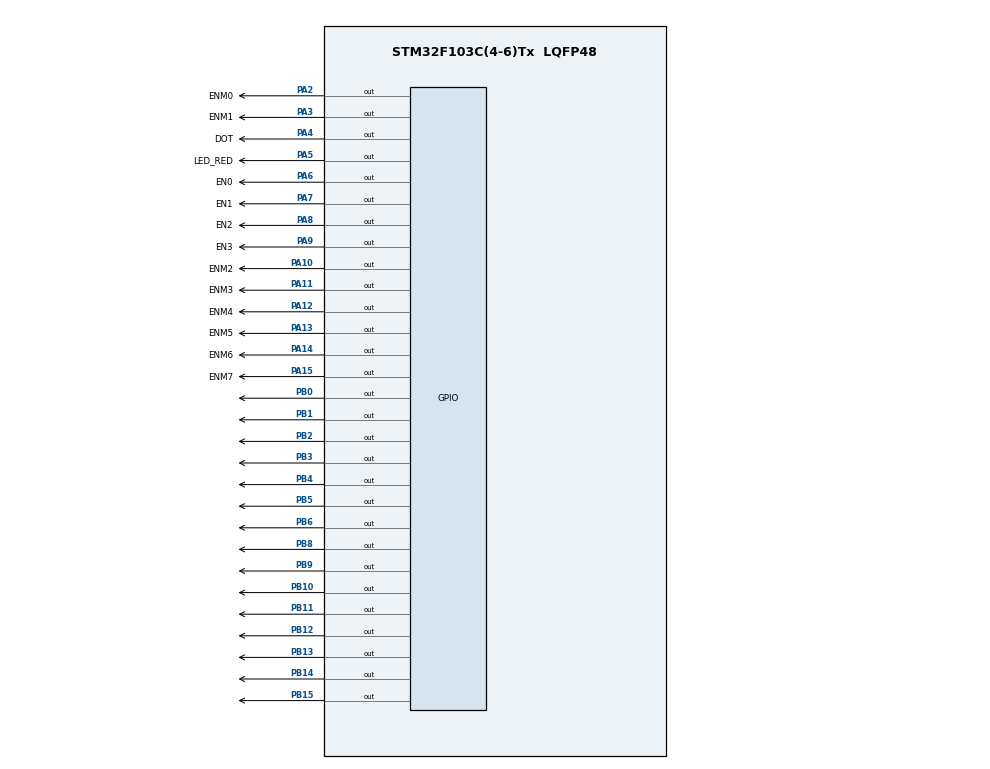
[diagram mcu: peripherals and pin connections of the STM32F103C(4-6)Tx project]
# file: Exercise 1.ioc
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Mcu.Family=STM32F1
Mcu.Name=STM32F103C(4-6)Tx
Mcu.Package=LQFP48
NVIC.PriorityGroup=NVIC_PRIORITYGROUP_4
NVIC.TIM2_IRQn=true\:0\:0\:false\:false\:true\:true\:true\:true
PA10.GPIO_Label=ENM2
PA10.Signal=GPIO_Output
PA11.GPIO_Label=ENM3
PA11.Signal=GPIO_Output
PA12.GPIO_Label=ENM4
PA12.Signal=GPIO_Output
PA13.GPIO_Label=ENM5
PA13.Signal=GPIO_Output
PA14.GPIO_Label=ENM6
PA14.Signal=GPIO_Output
PA15.GPIO_Label=ENM7
PA15.Signal=GPIO_Output
PA2.GPIO_Label=ENM0
PA2.Signal=GPIO_Output
PA3.GPIO_Label=ENM1
PA3.Signal=GPIO_Output
PA4.GPIO_Label=DOT
PA4.Signal=GPIO_Output
PA5.GPIO_Label=LED_RED
PA5.Signal=GPIO_Output
PA6.GPIO_Label=EN0
PA6.Signal=GPIO_Output
PA7.GPIO_Label=EN1
PA7.Signal=GPIO_Output
PA8.GPIO_Label=EN2
PA8.Signal=GPIO_Output
PA9.GPIO_Label=EN3
PA9.Signal=GPIO_Output
PB0.Signal=GPIO_Output
PB1.Signal=GPIO_Output
PB10.Signal=GPIO_Output
PB11.Signal=GPIO_Output
PB12.Signal=GPIO_Output
PB13.Signal=GPIO_Output
PB14.Signal=GPIO_Output
PB15.Signal=GPIO_Output
PB2.Signal=GPIO_Output
PB3.Signal=GPIO_Output
PB4.Signal=GPIO_Output
PB5.Signal=GPIO_Output
PB6.Signal=GPIO_Output
PB8.Signal=GPIO_Output
PB9.Signal=GPIO_Output
ProjectManager.HeapSize=0x200
ProjectManager.StackSize=0x400
ProjectManager.TargetToolchain=STM32CubeIDE
RCC.APB1Freq_Value=8000000
RCC.APB2Freq_Value=8000000
TIM2.Period=9
TIM2.Prescaler=7999
VP_SYS_VS_ND.Mode=No_Debug
VP_TIM2_VS_ClockSourceINT.Mode=Internal
board=custom

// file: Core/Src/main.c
/* USER CODE BEGIN Header */
/**
  ******************************************************************************
  * @file           : main.c
  * @brief          : Main program body
  ******************************************************************************
  * @attention
  *
  * Copyright (c) 2025 STMicroelectronics.
  * All rights reserved.
  *
  * This software is licensed under terms that can be found in the LICENSE file
  * in the root directory of this software component.
  * If no LICENSE file comes with this software, it is provided AS-IS.
  *
  ******************************************************************************
  */
/* USER CODE END Header */
#include "main.h"

/* USER CODE BEGIN PD */
#define ON 0
#define OFF 1
#define SEG1 0
#define SEG2 1
#define SEG3 2
#define SEG4 3
#define SMALL 0
#define INIT 1
#define BIG 2
/* USER CODE END PD */

/* USER CODE BEGIN PM */
void display7SEG(int num0);
void exer1();
void exer2();
void exer4();
void update7SEG ( int index );
void   updateClockBuffer () ;
void updateLEDMatrix (int index );
void init_matrix_led();
void set_matrix_row(int index);
void heartbeatAnimation();
void displayFrame(uint8_t frame[8]);
/* USER CODE END PM */

TIM_HandleTypeDef htim2;

/* USER CODE BEGIN PV */
uint8_t  counter = 0;
uint8_t time = 0;
uint8_t status = INIT;
const int MAX_LED = 4;
int index_led = 0;
int led_buffer [4] = {1 , 2 , 3 , 4};
int hour = 15 , minute = 8 , second = 50;
const int MAX_LED_MATRIX = 8;
 int index_led_matrix = 0;
 uint8_t matrix_buffer [8] = {0x70, // 0b01110000
		  0x88, // 0b10001000
		  0x88, // 0b10001000
		  0xF8, // 0b11111000
		  0x88, // 0b10001000
		  0x88, // 0b10001000
		  0x88, // 0b10001000
		  0x00   };
 uint8_t heart_big[8] = {
   0b00000000,
   0b01100110,
   0b11111111,
   0b11111111,
   0b01111110,
   0b00111100,
   0b00011000,
   0b00000000
 };
 uint8_t heart_small[8] = {
   0b00000000,
   0b00000000,
   0b01100110,
   0b11111111,
   0b01111110,
   0b00011000,
   0b00000000,
   0b00000000
 };
/* USER CODE END PV */

void SystemClock_Config(void);
static void MX_GPIO_Init(void);
static void MX_TIM2_Init(void);

/* USER CODE BEGIN 0 */
int timer0_counter = 0;
int timer0_flag = 0;
 int TIMER_CYCLE = 10;

 void setTimer0 ( int duration ) {
	timer0_counter = duration / TIMER_CYCLE ;
	 timer0_flag = 0;
 }
 void timer_run () {
	 if( timer0_counter > 0) {
	 timer0_counter --;
	 if( timer0_counter == 0) timer0_flag = 1;
 }
  }
/* USER CODE END 0 */

int main(void)
{

  /* MCU Configuration--------------------------------------------------------*/

  /* Reset of all peripherals, Initializes the Flash interface and the Systick. */
  HAL_Init();

  /* Configure the system clock */
  SystemClock_Config();

  /* Initialize all configured peripherals */
  MX_GPIO_Init();
  MX_TIM2_Init();
  /* USER CODE BEGIN 2 */
  HAL_TIM_Base_Start_IT (& htim2 ) ;
  init_matrix_led();
  //init 7SEG

  setTimer0(1000);
	 HAL_GPIO_WritePin(GPIOA, GPIO_PIN_6, OFF);
	 HAL_GPIO_WritePin(GPIOA, GPIO_PIN_7, OFF);
	 HAL_GPIO_WritePin(GPIOA, GPIO_PIN_8, OFF);
	 HAL_GPIO_WritePin(GPIOA, GPIO_PIN_9, OFF);
  /* USER CODE END 2 */

  /* Infinite loop */
  /* USER CODE BEGIN WHILE */
  while (1)
  {
//	  if(timer0_flag){
//		  setTimer0(1000);
//		 second ++;
//
//		 if ( second >= 60) {
//		 second = 0;
//		minute ++;
//
//		 }
//		if( minute >= 60) {
//		 minute = 0;
//		hour ++;
//		}
//		if( hour >=24) {
//		 hour = 0;
//		 }
//		if(index_led >= 0 && index_led < 2) HAL_GPIO_WritePin(GPIOA, GPIO_PIN_4, OFF);
//		if(index_led >= 2 && index_led <=3) HAL_GPIO_WritePin(GPIOA, GPIO_PIN_4, ON);
//		updateClockBuffer () ;
//		update7SEG(index_led++);
//
//
//
//	  }
	  while(!timer0_flag);
	  setTimer0(200);
	  switch(status){
	  case INIT:
		  init_matrix_led();
		  status = SMALL;
		  break;
	  case SMALL:
		  displayFrame(heart_small);
		  status = BIG;
		  break;
	  case BIG:
		  displayFrame(heart_big);
		  status = SMALL;
		  break;
	  default: break;
	  }

    /* USER CODE END WHILE */

  }
}

void SystemClock_Config(void)
{
  RCC_OscInitTypeDef RCC_OscInitStruct = {0};
  RCC_ClkInitTypeDef RCC_ClkInitStruct = {0};

  /** Initializes the RCC Oscillators according to the specified parameters
  * in the RCC_OscInitTypeDef structure.
  */
  RCC_OscInitStruct.OscillatorType = RCC_OSCILLATORTYPE_HSI;
  RCC_OscInitStruct.HSIState = RCC_HSI_ON;
  RCC_OscInitStruct.HSICalibrationValue = RCC_HSICALIBRATION_DEFAULT;
  RCC_OscInitStruct.PLL.PLLState = RCC_PLL_NONE;
  if (HAL_RCC_OscConfig(&RCC_OscInitStruct) != HAL_OK)
  {
    Error_Handler();
  }

  /** Initializes the CPU, AHB and APB buses clocks
  */
  RCC_ClkInitStruct.ClockType = RCC_CLOCKTYPE_HCLK|RCC_CLOCKTYPE_SYSCLK
                              |RCC_CLOCKTYPE_PCLK1|RCC_CLOCKTYPE_PCLK2;
  RCC_ClkInitStruct.SYSCLKSource = RCC_SYSCLKSOURCE_HSI;
  RCC_ClkInitStruct.AHBCLKDivider = RCC_SYSCLK_DIV1;
  RCC_ClkInitStruct.APB1CLKDivider = RCC_HCLK_DIV1;
  RCC_ClkInitStruct.APB2CLKDivider = RCC_HCLK_DIV1;

  if (HAL_RCC_ClockConfig(&RCC_ClkInitStruct, FLASH_LATENCY_0) != HAL_OK)
  {
    Error_Handler();
  }
}

static void MX_TIM2_Init(void)
{

  TIM_ClockConfigTypeDef sClockSourceConfig = {0};
  TIM_MasterConfigTypeDef sMasterConfig = {0};

  htim2.Instance = TIM2;
  htim2.Init.Prescaler = 7999;
  htim2.Init.CounterMode = TIM_COUNTERMODE_UP;
  htim2.Init.Period = 9;
  htim2.Init.ClockDivision = TIM_CLOCKDIVISION_DIV1;
  htim2.Init.AutoReloadPreload = TIM_AUTORELOAD_PRELOAD_DISABLE;
  if (HAL_TIM_Base_Init(&htim2) != HAL_OK)
  {
    Error_Handler();
  }
  sClockSourceConfig.ClockSource = TIM_CLOCKSOURCE_INTERNAL;
  if (HAL_TIM_ConfigClockSource(&htim2, &sClockSourceConfig) != HAL_OK)
  {
    Error_Handler();
  }
  sMasterConfig.MasterOutputTrigger = TIM_TRGO_RESET;
  sMasterConfig.MasterSlaveMode = TIM_MASTERSLAVEMODE_DISABLE;
  if (HAL_TIMEx_MasterConfigSynchronization(&htim2, &sMasterConfig) != HAL_OK)
  {
    Error_Handler();
  }

}

static void MX_GPIO_Init(void)
{
  GPIO_InitTypeDef GPIO_InitStruct = {0};

  /* GPIO Ports Clock Enable */
  __HAL_RCC_GPIOA_CLK_ENABLE();
  __HAL_RCC_GPIOB_CLK_ENABLE();

  /*Configure GPIO pin Output Level */
  HAL_GPIO_WritePin(GPIOA, ENM0_Pin|ENM1_Pin|DOT_Pin|LED_RED_Pin
                          |EN0_Pin|EN1_Pin|EN2_Pin|EN3_Pin
                          |ENM2_Pin|ENM3_Pin|ENM4_Pin|ENM5_Pin
                          |ENM6_Pin|ENM7_Pin, GPIO_PIN_RESET);

  /*Configure GPIO pin Output Level */
  HAL_GPIO_WritePin(GPIOB, GPIO_PIN_0|GPIO_PIN_1|GPIO_PIN_2|GPIO_PIN_10
                          |GPIO_PIN_11|GPIO_PIN_12|GPIO_PIN_13|GPIO_PIN_14
                          |GPIO_PIN_15|GPIO_PIN_3|GPIO_PIN_4|GPIO_PIN_5
                          |GPIO_PIN_6|GPIO_PIN_8|GPIO_PIN_9, GPIO_PIN_RESET);

  /*Configure GPIO pins : ENM0_Pin ENM1_Pin DOT_Pin LED_RED_Pin
                           EN0_Pin EN1_Pin EN2_Pin EN3_Pin
                           ENM2_Pin ENM3_Pin ENM4_Pin ENM5_Pin
                           ENM6_Pin ENM7_Pin */
  GPIO_InitStruct.Pin = ENM0_Pin|ENM1_Pin|DOT_Pin|LED_RED_Pin
                          |EN0_Pin|EN1_Pin|EN2_Pin|EN3_Pin
                          |ENM2_Pin|ENM3_Pin|ENM4_Pin|ENM5_Pin
                          |ENM6_Pin|ENM7_Pin;
  GPIO_InitStruct.Mode = GPIO_MODE_OUTPUT_PP;
  GPIO_InitStruct.Pull = GPIO_NOPULL;
  GPIO_InitStruct.Speed = GPIO_SPEED_FREQ_LOW;
  HAL_GPIO_Init(GPIOA, &GPIO_InitStruct);

  /*Configure GPIO pins : PB0 PB1 PB2 PB10
                           PB11 PB12 PB13 PB14
                           PB15 PB3 PB4 PB5
                           PB6 PB8 PB9 */
  GPIO_InitStruct.Pin = GPIO_PIN_0|GPIO_PIN_1|GPIO_PIN_2|GPIO_PIN_10
                          |GPIO_PIN_11|GPIO_PIN_12|GPIO_PIN_13|GPIO_PIN_14
                          |GPIO_PIN_15|GPIO_PIN_3|GPIO_PIN_4|GPIO_PIN_5
                          |GPIO_PIN_6|GPIO_PIN_8|GPIO_PIN_9;
  GPIO_InitStruct.Mode = GPIO_MODE_OUTPUT_PP;
  GPIO_InitStruct.Pull = GPIO_NOPULL;
  GPIO_InitStruct.Speed = GPIO_SPEED_FREQ_LOW;
  HAL_GPIO_Init(GPIOB, &GPIO_InitStruct);

}

/* USER CODE BEGIN 4 */

 void HAL_TIM_PeriodElapsedCallback ( TIM_HandleTypeDef * htim )
{

	 timer_run();
//	 updateLEDMatrix(index_led_matrix++);

}

 void displayFrame(uint8_t frame[8]){
	 for(int i = 0; i < 8; i++) {
	        set_matrix_row(frame[i]);  // Xuất dữ liệu dòng
	        // Bật row tương ứng
	       if(i < 2){
	        HAL_GPIO_WritePin(GPIOA, (GPIO_PIN_2 << i), 0);
	       }
	       if(i >= 2){
	    	   HAL_GPIO_WritePin(GPIOA, (GPIO_PIN_10 << (i - 2)) , 0);
	       }

	       // HAL_Delay(1); // giữ 1ms để mắt người kịp nhìn
	        if(i < 2){
	       	        HAL_GPIO_WritePin(GPIOA, (GPIO_PIN_2 << i), 1);
	       	       }
	       	       if(i >= 2){
	       	    	   HAL_GPIO_WritePin(GPIOA, (GPIO_PIN_10 << (i - 2)) , 1);
	       	       }
	    }
 }
 void updateLEDMatrix (int index ){
	init_matrix_led();
	 switch(index){
	 case 0:
		 set_matrix_row(matrix_buffer[index]);
		 HAL_GPIO_WritePin(GPIOA, GPIO_PIN_2, 0);
		 break;
	 case 1:
		 set_matrix_row(matrix_buffer[index]);
				 HAL_GPIO_WritePin(GPIOA, GPIO_PIN_3, 0);
		 break;
	 case 2:
		 set_matrix_row(matrix_buffer[index]);
		 HAL_GPIO_WritePin(GPIOA, GPIO_PIN_10, 0);
		 break;
	 case 3:
		 set_matrix_row(matrix_buffer[index]);
		 HAL_GPIO_WritePin(GPIOA, GPIO_PIN_11, 0);
		 break;
	 case 4:
		 set_matrix_row(matrix_buffer[index]);
		 HAL_GPIO_WritePin(GPIOA, GPIO_PIN_12, 0);
		 break;
	 case 5:
		 set_matrix_row(matrix_buffer[index]);
		 HAL_GPIO_WritePin(GPIOA, GPIO_PIN_13, 0);
		 break;
	 case 6:
		 set_matrix_row(matrix_buffer[index]);
		 HAL_GPIO_WritePin(GPIOA, GPIO_PIN_14, 0);
		 break;
	 case 7:
		 set_matrix_row(matrix_buffer[index]);
		 index_led_matrix = 0;
		 HAL_GPIO_WritePin(GPIOA, GPIO_PIN_15, 0);
		 break;
	 default: break;
	 }
 }
 void init_matrix_led(){
	 HAL_GPIO_WritePin(GPIOA, GPIO_PIN_2|GPIO_PIN_3|GPIO_PIN_10
			 |GPIO_PIN_11|GPIO_PIN_12|GPIO_PIN_13|GPIO_PIN_14|GPIO_PIN_15 , 1);
 }
void set_matrix_row(int value){
	for(int r = 0; r < 8; r++){
		if(value & (1 << r)){
	            HAL_GPIO_WritePin(GPIOB, GPIO_PIN_8 << r , 0);
		} else {
			 HAL_GPIO_WritePin(GPIOB, GPIO_PIN_8 << r , 1);
		}

	}

}
 void   updateClockBuffer() {
 	led_buffer[0] = hour /10;
 	led_buffer[1] = hour % 10;
 	led_buffer[2] = minute/10;
 	led_buffer[3] = minute % 10;
 }
void exer4(){
	counter --;
		if(counter <= 0){
			counter = 100;
			time ++;
	   switch(index_led){
	   case 0:
		   HAL_GPIO_WritePin(GPIOA, GPIO_PIN_4, OFF);
		   HAL_GPIO_WritePin(GPIOA, GPIO_PIN_9, OFF);
		   break;
	   case 1:
		   HAL_GPIO_WritePin(GPIOA, GPIO_PIN_6, OFF);
		   break;
	   case 2:
		   HAL_GPIO_WritePin(GPIOA, GPIO_PIN_4, ON);
		   HAL_GPIO_WritePin(GPIOA, GPIO_PIN_7, OFF);
		   break;
	   case 3:
		   HAL_GPIO_WritePin(GPIOA, GPIO_PIN_8, OFF);

		   break;
	   default: break;
	   }
	   update7SEG(index_led++);
		}
}
 void exer1(){
	 counter --;
	 	 if(counter <= 0){
	 		 counter = 50;
	 	 switch(status){
	 	 case INIT:
	 		HAL_GPIO_WritePin(GPIOA, GPIO_PIN_6, OFF);
	 		HAL_GPIO_WritePin(GPIOA, GPIO_PIN_7, OFF);
	 		status = SEG1;
	 		break;
	 	 case SEG1:
	 		 HAL_GPIO_WritePin(GPIOA, GPIO_PIN_6, ON); //Enable SEG7
	 		 HAL_GPIO_WritePin(GPIOA, GPIO_PIN_7, OFF);
	 		 display7SEG(1);
	 		 status = SEG2;
	 		 break;
	 	 case SEG2:
	 		 HAL_GPIO_WritePin(GPIOA, GPIO_PIN_7, ON); //Enable SEG7
	 		 HAL_GPIO_WritePin(GPIOA, GPIO_PIN_6, OFF);
	 		 display7SEG(2);
	 		 status = SEG1;
	 		 break;
	 	 default: break;
	 	 }
	 	 }
 }
 void exer2(){
	 counter --;
		 if(counter <= 0){
			 counter = 50;
		 switch(status){
		 case INIT:
			 //DISABLE ALL 7SEG
			 HAL_GPIO_WritePin(GPIOA, GPIO_PIN_6, OFF);
			 HAL_GPIO_WritePin(GPIOA, GPIO_PIN_7, OFF);
			 HAL_GPIO_WritePin(GPIOA, GPIO_PIN_8, OFF);
			 HAL_GPIO_WritePin(GPIOA, GPIO_PIN_9, OFF);
			 HAL_GPIO_WritePin(GPIOA, GPIO_PIN_4, OFF);
			 status = SEG1;
			 break;
		 case SEG1:
			 HAL_GPIO_WritePin(GPIOA, GPIO_PIN_4, OFF);
			 HAL_GPIO_WritePin(GPIOA, GPIO_PIN_6, ON); //Enable  1 SEG7
			 HAL_GPIO_WritePin(GPIOA, GPIO_PIN_9, OFF);
			 display7SEG(1);
			 status = SEG2;
			 break;
		 case SEG2:
			 HAL_GPIO_WritePin(GPIOA, GPIO_PIN_7, ON); //Enable  2 SEG7
			 HAL_GPIO_WritePin(GPIOA, GPIO_PIN_6, OFF);
			 display7SEG(2);
			 status = SEG3;
			 break;
		 case SEG3:
			 	 HAL_GPIO_WritePin(GPIOA, GPIO_PIN_4, ON);
		 		 HAL_GPIO_WritePin(GPIOA, GPIO_PIN_7, OFF); //Enable SEG7
		 		 HAL_GPIO_WritePin(GPIOA, GPIO_PIN_8, ON);
		 		 display7SEG(3);
		 		 status = SEG4;

		 		 break;
		 case SEG4:
			 HAL_GPIO_WritePin(GPIOA, GPIO_PIN_8, OFF); //Enable SEG7
						 		 HAL_GPIO_WritePin(GPIOA, GPIO_PIN_9, ON);
						 		 display7SEG(0);
						 		 status = SEG1;
						 		 break;
		 default: break;
		 }
		 }
 }
void update7SEG ( int index ){
	switch ( index ) {
	 case 0:
		 HAL_GPIO_WritePin(GPIOA, GPIO_PIN_6, ON);
		 HAL_GPIO_WritePin(GPIOA, GPIO_PIN_9, OFF);
		 display7SEG(led_buffer[0]);
	 // Display the first 7 SEG with led_buffer [0]
	 break ;
	 case 1:
		 HAL_GPIO_WritePin(GPIOA, GPIO_PIN_7, ON);
		 HAL_GPIO_WritePin(GPIOA, GPIO_PIN_6, OFF);
		 display7SEG(led_buffer[1]);
	 // Display the second 7 SEG with led_buffer [1]
	 break ;
	 case 2:
		 HAL_GPIO_WritePin(GPIOA, GPIO_PIN_8, ON);
		 HAL_GPIO_WritePin(GPIOA, GPIO_PIN_7, OFF);
		 display7SEG(led_buffer[2]);
	 // Display the third 7 SEG with led_buffer [2]
	 break ;
	 case 3:
		 HAL_GPIO_WritePin(GPIOA, GPIO_PIN_9, ON);
		 HAL_GPIO_WritePin(GPIOA, GPIO_PIN_8, OFF);
		 display7SEG(led_buffer[3]);
		 index_led = 0;
	 // Display the forth 7 SEG with led_buffer [3]
	 break ;
	 default :
	 break ;
 }
}

 void display7SEG(int num){
	 switch(num){
	 	case 0:

	 		HAL_GPIO_WritePin(GPIOB, GPIO_PIN_0, ON);
	 		HAL_GPIO_WritePin(GPIOB, GPIO_PIN_1, ON);
	 		HAL_GPIO_WritePin(GPIOB, GPIO_PIN_2, ON);
	 		HAL_GPIO_WritePin(GPIOB, GPIO_PIN_3, ON);
	 		HAL_GPIO_WritePin(GPIOB, GPIO_PIN_4, ON);
	 		HAL_GPIO_WritePin(GPIOB, GPIO_PIN_5, ON);
	 		HAL_GPIO_WritePin(GPIOB, GPIO_PIN_6, OFF);
	 		break;
	 	case 1:
	 		HAL_GPIO_WritePin(GPIOB, GPIO_PIN_0, OFF);
	 		HAL_GPIO_WritePin(GPIOB, GPIO_PIN_1, ON);
	 		HAL_GPIO_WritePin(GPIOB, GPIO_PIN_2, ON);
	 		HAL_GPIO_WritePin(GPIOB, GPIO_PIN_3, OFF);
	 		HAL_GPIO_WritePin(GPIOB, GPIO_PIN_4, OFF);
	 		HAL_GPIO_WritePin(GPIOB, GPIO_PIN_5, OFF);
	 		HAL_GPIO_WritePin(GPIOB, GPIO_PIN_6, OFF);
	 		break;
	 	case 2:
	 		HAL_GPIO_WritePin(GPIOB, GPIO_PIN_0, ON);
	 		HAL_GPIO_WritePin(GPIOB, GPIO_PIN_1, ON);
	 		HAL_GPIO_WritePin(GPIOB, GPIO_PIN_2, OFF);
	 		HAL_GPIO_WritePin(GPIOB, GPIO_PIN_3, ON);
	 		HAL_GPIO_WritePin(GPIOB, GPIO_PIN_4, ON);
	 		HAL_GPIO_WritePin(GPIOB, GPIO_PIN_5, OFF);
	 		HAL_GPIO_WritePin(GPIOB, GPIO_PIN_6, ON);
	 		break;
	 	case 3:
	 		HAL_GPIO_WritePin(GPIOB, GPIO_PIN_0, ON);
	 		HAL_GPIO_WritePin(GPIOB, GPIO_PIN_1, ON);
	 		HAL_GPIO_WritePin(GPIOB, GPIO_PIN_2, ON);
	 		HAL_GPIO_WritePin(GPIOB, GPIO_PIN_3, ON);
	 		HAL_GPIO_WritePin(GPIOB, GPIO_PIN_4, OFF);
	 		HAL_GPIO_WritePin(GPIOB, GPIO_PIN_5, OFF);
	 		HAL_GPIO_WritePin(GPIOB, GPIO_PIN_6, ON);
	 		break;
	 	case 4:
	 		HAL_GPIO_WritePin(GPIOB, GPIO_PIN_0, OFF);
	 		HAL_GPIO_WritePin(GPIOB, GPIO_PIN_1, ON);
	 		HAL_GPIO_WritePin(GPIOB, GPIO_PIN_2, ON);
	 		HAL_GPIO_WritePin(GPIOB, GPIO_PIN_3, OFF);
	 		HAL_GPIO_WritePin(GPIOB, GPIO_PIN_4, OFF);
	 		HAL_GPIO_WritePin(GPIOB, GPIO_PIN_5, ON);
	 		HAL_GPIO_WritePin(GPIOB, GPIO_PIN_6, ON);
	 		break;
	 	case 5:
	 		HAL_GPIO_WritePin(GPIOB, GPIO_PIN_0, ON);
	 		HAL_GPIO_WritePin(GPIOB, GPIO_PIN_1, OFF);
	 		HAL_GPIO_WritePin(GPIOB, GPIO_PIN_2, ON);
	 		HAL_GPIO_WritePin(GPIOB, GPIO_PIN_3, ON);
	 		HAL_GPIO_WritePin(GPIOB, GPIO_PIN_4, OFF);
	 		HAL_GPIO_WritePin(GPIOB, GPIO_PIN_5, ON);
	 		HAL_GPIO_WritePin(GPIOB, GPIO_PIN_6, ON);
	 		break;
	 	case 6:
	 		HAL_GPIO_WritePin(GPIOB, GPIO_PIN_0, ON);
	 		HAL_GPIO_WritePin(GPIOB, GPIO_PIN_1, OFF);
	 		HAL_GPIO_WritePin(GPIOB, GPIO_PIN_2, ON);
	 		HAL_GPIO_WritePin(GPIOB, GPIO_PIN_3, ON);
	 		HAL_GPIO_WritePin(GPIOB, GPIO_PIN_4, ON);
	 		HAL_GPIO_WritePin(GPIOB, GPIO_PIN_5, ON);
	 		HAL_GPIO_WritePin(GPIOB, GPIO_PIN_6, ON);
	 		break;
	 	case 7:
	 		HAL_GPIO_WritePin(GPIOB, GPIO_PIN_0, ON);
	 		HAL_GPIO_WritePin(GPIOB, GPIO_PIN_1, ON);
	 		HAL_GPIO_WritePin(GPIOB, GPIO_PIN_2, ON);
	 		HAL_GPIO_WritePin(GPIOB, GPIO_PIN_3, OFF);
	 		HAL_GPIO_WritePin(GPIOB, GPIO_PIN_4, OFF);
	 		HAL_GPIO_WritePin(GPIOB, GPIO_PIN_5, OFF);
	 		HAL_GPIO_WritePin(GPIOB, GPIO_PIN_6, OFF);
	 		break;
	 	case 8:
	 		HAL_GPIO_WritePin(GPIOB, GPIO_PIN_0, ON);
	 		HAL_GPIO_WritePin(GPIOB, GPIO_PIN_1, ON);
	 		HAL_GPIO_WritePin(GPIOB, GPIO_PIN_2, ON);
	 		HAL_GPIO_WritePin(GPIOB, GPIO_PIN_3, ON);
	 		HAL_GPIO_WritePin(GPIOB, GPIO_PIN_4, ON);
	 		HAL_GPIO_WritePin(GPIOB, GPIO_PIN_5, ON);
	 		HAL_GPIO_WritePin(GPIOB, GPIO_PIN_6, ON);
	 		break;
	 	case 9:
	 		HAL_GPIO_WritePin(GPIOB, GPIO_PIN_0, ON);
	 		HAL_GPIO_WritePin(GPIOB, GPIO_PIN_1, ON);
	 		HAL_GPIO_WritePin(GPIOB, GPIO_PIN_2, ON);
	 		HAL_GPIO_WritePin(GPIOB, GPIO_PIN_3, ON);
	 		HAL_GPIO_WritePin(GPIOB, GPIO_PIN_4, OFF);
	 		HAL_GPIO_WritePin(GPIOB, GPIO_PIN_5, ON);
	 		HAL_GPIO_WritePin(GPIOB, GPIO_PIN_6, ON);
	 		break;
	 	default: break;

	 	}
 }
/* USER CODE END 4 */

void Error_Handler(void)
{
  __disable_irq();
  while (1)
  {
  }
}
